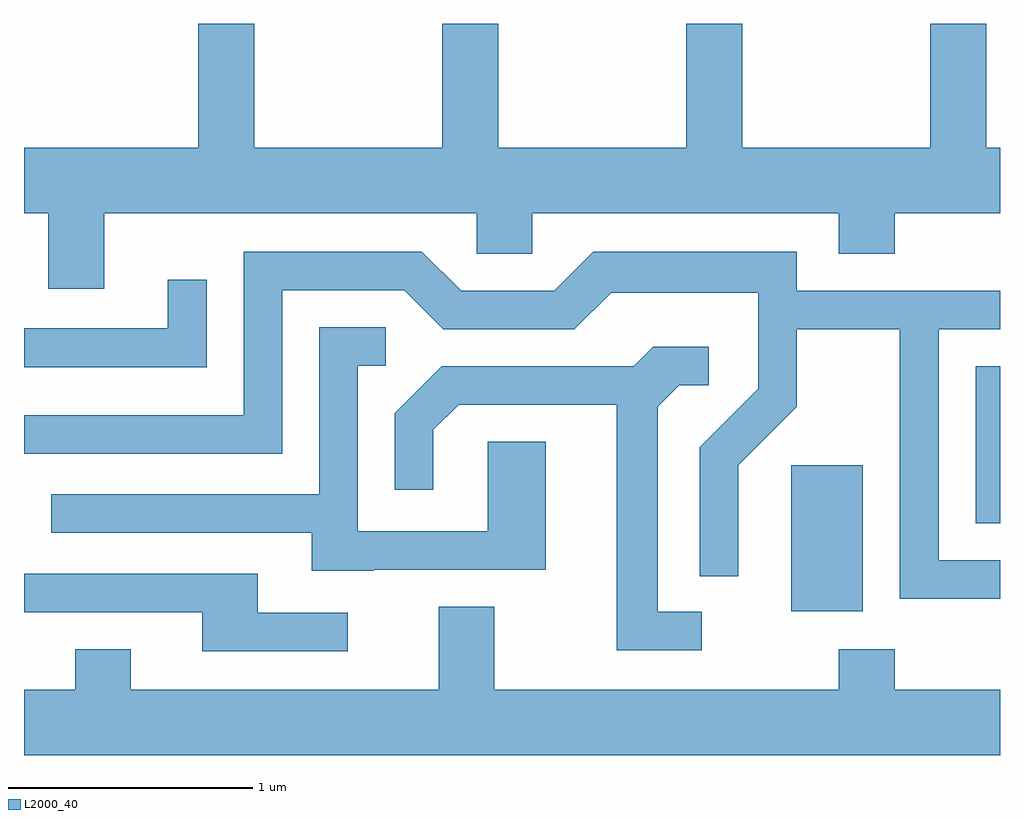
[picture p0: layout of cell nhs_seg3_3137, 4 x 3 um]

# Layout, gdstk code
import gdstk
lib = gdstk.Library(unit=1e-6, precision=1e-09)
def R(c, l, rs):  # rectangles x0, y0, x1, y1
    for r in rs: c.add(gdstk.rectangle(r[:2], r[2:], *l))
def P(c, l, *ps):  # polygons
    for p in ps: c.add(gdstk.Polygon(p, *l))
L2000_40 = (2000, 40)

nhs_seg3_3137 = lib.new_cell('nhs_seg3_3137')
R(nhs_seg3_3137, L2000_40, [(280.756,1135.486,281.049,1136.084), (281.511,1135.846,281.611,1136.489)])
P(nhs_seg3_3137, L2000_40, [(277.939,1137.116),(279.466,1137.116),(279.466,1136.951),(279.694,1136.951),(279.694,1137.116),(280.951,1137.116),(280.951,1136.951),(281.179,1136.951),(281.179,1137.116),(281.611,1137.116),(281.611,1137.384),(281.554,1137.384),(281.554,1137.892),(281.326,1137.892),(281.326,1137.384),(280.554,1137.384),(280.554,1137.892),(280.326,1137.892),(280.326,1137.384),(279.554,1137.384),(279.554,1137.892),(279.326,1137.892),(279.326,1137.384),(278.554,1137.384),(278.554,1137.892),(278.326,1137.892),(278.326,1137.384),(277.611,1137.384),(277.611,1137.116),(277.711,1137.116),(277.711,1136.806),(277.939,1136.806)],
  [(281.611,1135.694),(281.359,1135.694),(281.359,1136.641),(281.611,1136.641),(281.611,1136.799),(280.779,1136.799),(280.779,1136.959),(279.944,1136.959),(279.784,1136.799),(279.402,1136.799),(279.242,1136.959),(278.511,1136.959),(278.511,1136.289),(277.611,1136.289),(277.611,1136.131),(278.669,1136.131),(278.669,1136.801),(279.169,1136.801),(279.329,1136.641),(279.867,1136.641),(280.017,1136.791),(280.621,1136.791),(280.621,1136.397),(280.381,1136.157),(280.381,1135.628),(280.539,1135.628),(280.539,1136.084),(280.779,1136.324),(280.779,1136.641),(281.201,1136.641),(281.201,1135.536),(281.611,1135.536)],
  [(278.359,1136.843),(278.201,1136.843),(278.201,1136.644),(277.611,1136.644),(277.611,1136.486),(278.359,1136.486)],
  [(279.045,1135.656),(279.749,1135.656),(279.749,1136.179),(279.511,1136.179),(279.511,1135.814),(278.979,1135.814),(278.979,1136.491),(279.093,1136.491),(279.093,1136.649),(278.821,1136.649),(278.821,1135.964),(277.723,1135.964),(277.723,1135.806),(278.791,1135.806),(278.791,1135.651),(279.045,1135.651)],
  [(280.388,1135.484),(280.209,1135.484),(280.209,1136.324),(280.297,1136.411),(280.418,1136.411),(280.418,1136.569),(280.189,1136.569),(280.109,1136.489),(279.324,1136.489),(279.131,1136.297),(279.131,1135.983),(279.289,1135.983),(279.289,1136.229),(279.392,1136.331),(280.041,1136.331),(280.041,1135.326),(280.388,1135.326)],
  [(278.938,1135.479),(278.569,1135.479),(278.569,1135.639),(277.611,1135.639),(277.611,1135.481),(278.341,1135.481),(278.341,1135.321),(278.938,1135.321)],
  [(281.611,1135.164),(281.179,1135.164),(281.179,1135.329),(280.951,1135.329),(280.951,1135.164),(279.539,1135.164),(279.539,1135.504),(279.311,1135.504),(279.311,1135.164),(278.049,1135.164),(278.049,1135.329),(277.821,1135.329),(277.821,1135.164),(277.611,1135.164),(277.611,1134.896),(281.611,1134.896)])

lib.write_gds('nhs_seg3_3137.gds')
